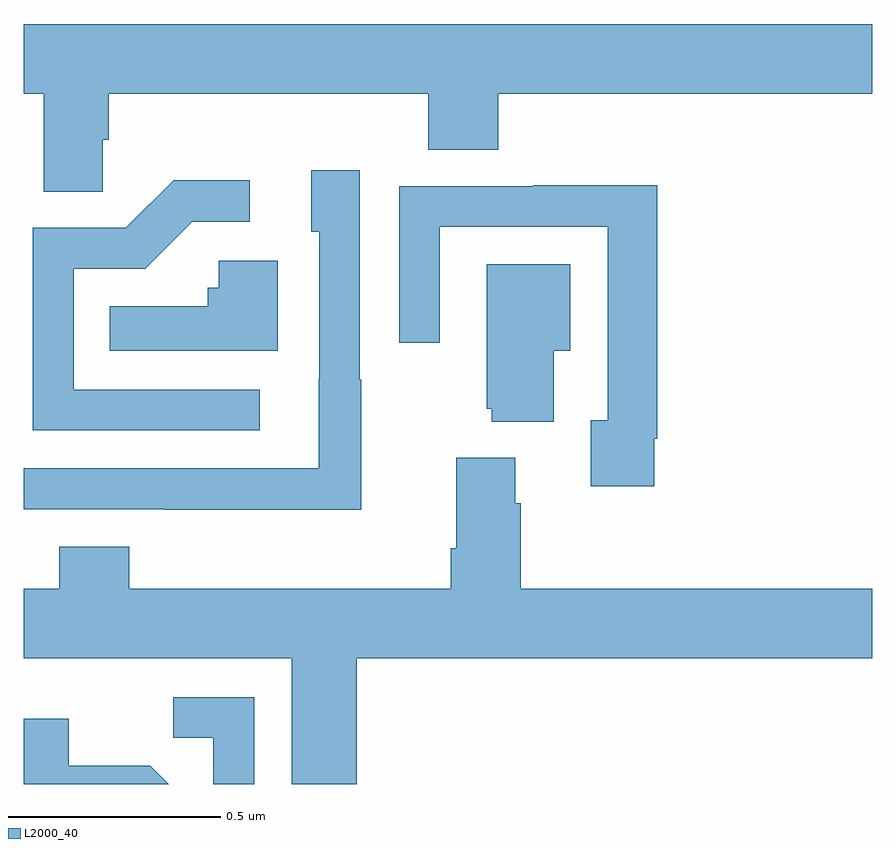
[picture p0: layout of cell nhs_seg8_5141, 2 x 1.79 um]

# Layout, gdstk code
import gdstk
lib = gdstk.Library(unit=1e-6, precision=1e-09)
def P(c, l, *ps):  # polygons
    for p in ps: c.add(gdstk.Polygon(p, *l))
L2000_40 = (2000, 40)

nhs_seg8_5141 = lib.new_cell('nhs_seg8_5141')
P(nhs_seg8_5141, L2000_40, [(180.186,1088.419),(180.2,1088.419),(180.2,1088.528),(180.953,1088.528),(180.953,1088.395),(181.118,1088.395),(181.118,1088.528),(182,1088.528),(182,1088.692),(180,1088.692),(180,1088.528),(180.047,1088.528),(180.047,1088.296),(180.186,1088.296)],
  [(180.795,1087.853),(180.792,1087.853),(180.792,1088.347),(180.677,1088.347),(180.677,1088.202),(180.696,1088.202),(180.696,1087.856),(180.695,1087.856),(180.695,1087.644),(180,1087.644),(180,1087.548),(180.331,1087.548),(180.331,1087.547),(180.795,1087.547)],
  [(180.556,1087.83),(180.117,1087.83),(180.117,1088.115),(180.286,1088.115),(180.397,1088.226),(180.532,1088.226),(180.532,1088.324),(180.353,1088.324),(180.24,1088.211),(180.021,1088.211),(180.021,1087.734),(180.556,1087.734)],
  [(181.486,1087.714),(181.493,1087.714),(181.493,1088.312),(181.201,1088.312),(181.201,1088.31),(180.885,1088.31),(180.885,1087.941),(180.981,1087.941),(180.981,1088.214),(181.377,1088.214),(181.377,1087.758),(181.337,1087.758),(181.337,1087.602),(181.486,1087.602)],
  [(180.598,1088.134),(180.459,1088.134),(180.459,1088.07),(180.433,1088.07),(180.433,1088.026),(180.202,1088.026),(180.202,1087.922),(180.598,1087.922)],
  [(181.249,1087.922),(181.288,1087.922),(181.288,1088.125),(181.091,1088.125),(181.091,1087.785),(181.103,1087.785),(181.103,1087.754),(181.249,1087.754)],
  [(180.785,1087.196),(182,1087.196),(182,1087.36),(181.172,1087.36),(181.172,1087.562),(181.159,1087.562),(181.159,1087.669),(181.019,1087.669),(181.019,1087.456),(181.007,1087.456),(181.007,1087.36),(180.248,1087.36),(180.248,1087.459),(180.083,1087.459),(180.083,1087.36),(180,1087.36),(180,1087.196),(180.632,1087.196),(180.632,1086.9),(180.785,1086.9)],
  [(180.543,1087.104),(180.352,1087.104),(180.352,1087.009),(180.447,1087.009),(180.447,1086.9),(180.543,1086.9)],
  [(180.298,1086.943),(180.106,1086.943),(180.106,1087.054),(180,1087.054),(180,1086.9),(180.341,1086.9)])

lib.write_gds('nhs_seg8_5141.gds')
